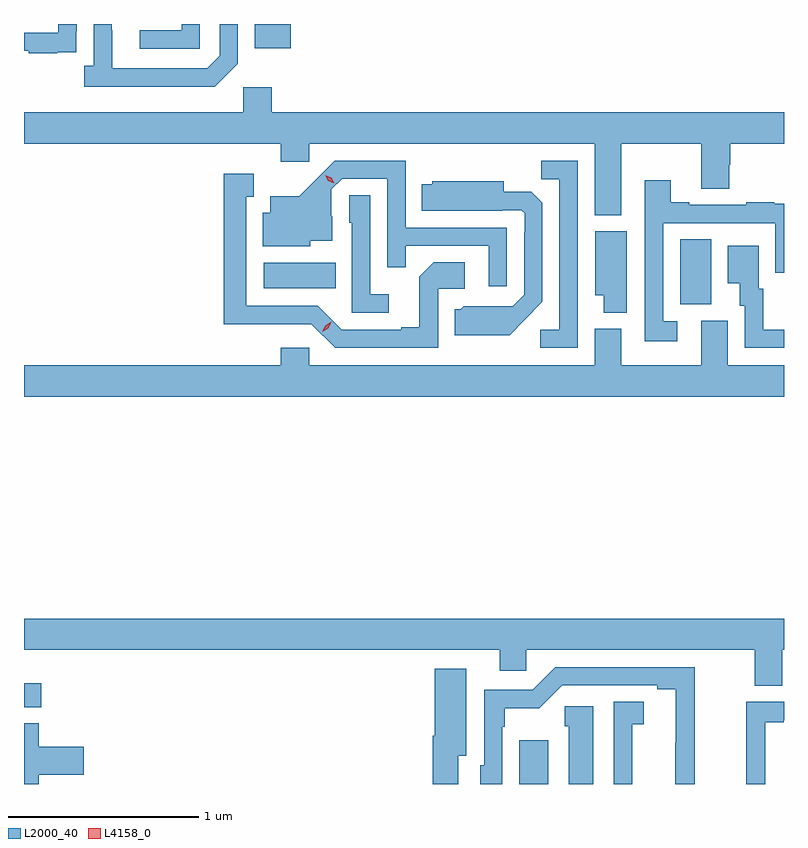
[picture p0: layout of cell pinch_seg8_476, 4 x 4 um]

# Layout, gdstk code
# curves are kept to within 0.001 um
import gdstk
lib = gdstk.Library(unit=1e-6, precision=1e-09)
def R(c, l, rs):  # rectangles x0, y0, x1, y1
    for r in rs: c.add(gdstk.rectangle(r[:2], r[2:], *l))
def P(c, l, *ps):  # polygons
    for p in ps: c.add(gdstk.Polygon(p, *l))
L2000_40 = (2000, 40)
L4158_0 = (4158, 0)

pinch_seg8_476 = lib.new_cell('pinch_seg8_476')
R(pinch_seg8_476, L2000_40, [(182.9,1131.777,183.052,1132.006), (180.293,1132.181,180.385,1132.306), (183.746,1134.301,183.91,1134.644), (181.554,1134.386,181.934,1134.52), (181.508,1135.649,181.696,1135.777)])
P(pinch_seg8_476, L2000_40, [(181.218,1135.777),(181.122,1135.777),(181.122,1135.743),(180.903,1135.743),(180.903,1135.647),(181.218,1135.647)],
  [(180.467,1135.629),(180.569,1135.629),(180.569,1135.738),(180.57,1135.738),(180.57,1135.777),(180.474,1135.777),(180.474,1135.731),(180.293,1135.731),(180.293,1135.635),(180.319,1135.635),(180.319,1135.623),(180.467,1135.623)],
  [(181.419,1135.569),(181.419,1135.777),(181.323,1135.777),(181.323,1135.611),(181.257,1135.545),(180.757,1135.545),(180.756,1135.777),(180.66,1135.777),(180.66,1135.558),(180.609,1135.558),(180.609,1135.448),(181.298,1135.448)],
  [(183.436,1135.148),(183.857,1135.148),(183.857,1134.91),(184.005,1134.91),(184.005,1135.035),(184.01,1135.035),(184.01,1135.148),(184.293,1135.148),(184.293,1135.312),(181.598,1135.312),(181.598,1135.444),(181.446,1135.444),(181.446,1135.312),(180.293,1135.312),(180.293,1135.148),(181.643,1135.148),(181.643,1135.053),(181.794,1135.053),(181.794,1135.148),(183.296,1135.148),(183.296,1134.77),(183.436,1134.77)],
  [(183.207,1135.056),(183.016,1135.056),(183.016,1134.961),(183.111,1134.961),(183.111,1134.168),(183.009,1134.168),(183.009,1134.072),(183.207,1134.072)],
  [(182.835,1134.705),(182.301,1134.705),(182.301,1135.056),(181.928,1135.056),(181.741,1134.871),(181.589,1134.871),(181.589,1134.784),(181.55,1134.784),(181.55,1134.608),(181.8,1134.608),(181.8,1134.635),(181.915,1134.635),(181.915,1134.764),(181.911,1134.764),(181.911,1134.906),(181.968,1134.963),(182.205,1134.963),(182.205,1134.496),(182.303,1134.496),(182.303,1134.609),(182.739,1134.609),(182.739,1134.396),(182.835,1134.396)],
  [(182.472,1134.384),(182.614,1134.384),(182.614,1134.524),(182.449,1134.524),(182.373,1134.448),(182.373,1134.181),(182.279,1134.181),(182.279,1134.168),(181.965,1134.168),(181.839,1134.294),(181.462,1134.294),(181.462,1134.867),(181.501,1134.867),(181.501,1134.988),(181.344,1134.988),(181.344,1134.197),(181.806,1134.198),(181.932,1134.072),(182.472,1134.072)],
  [(183.73,1134.213),(183.657,1134.213),(183.657,1134.729),(184.248,1134.729),(184.248,1134.468),(184.293,1134.468),(184.293,1134.831),(184.241,1134.831),(184.241,1134.838),(184.093,1134.838),(184.093,1134.825),(183.793,1134.825),(183.793,1134.838),(183.697,1134.838),(183.697,1134.955),(183.561,1134.955),(183.561,1134.108),(183.73,1134.108)],
  [(182.929,1134.221),(183.021,1134.314),(183.021,1134.836),(182.962,1134.895),(182.818,1134.895),(182.818,1134.949),(182.442,1134.949),(182.442,1134.934),(182.386,1134.934),(182.386,1134.794),(182.81,1134.794),(182.81,1134.798),(182.91,1134.798),(182.928,1134.78),(182.928,1134.68),(182.925,1134.68),(182.925,1134.351),(182.865,1134.291),(182.608,1134.292),(182.592,1134.276),(182.561,1134.276),(182.561,1134.14),(182.849,1134.14)],
  [(182.212,1134.355),(182.115,1134.355),(182.115,1134.875),(182.004,1134.875),(182.004,1134.732),(182.019,1134.732),(182.019,1134.258),(182.212,1134.258)],
  [(183.466,1134.685),(183.299,1134.685),(183.299,1134.35),(183.344,1134.35),(183.344,1134.257),(183.466,1134.257)],
  [(184.293,1134.168),(184.183,1134.168),(184.183,1134.384),(184.159,1134.384),(184.159,1134.61),(183.998,1134.61),(183.998,1134.413),(184.061,1134.413),(184.061,1134.294),(184.086,1134.294),(184.086,1134.072),(184.293,1134.072)],
  [(184.293,1133.98),(183.997,1133.98),(183.997,1134.216),(183.857,1134.216),(183.857,1133.98),(183.436,1133.98),(183.436,1134.172),(183.296,1134.172),(183.296,1133.98),(181.794,1133.98),(181.794,1134.073),(181.643,1134.073),(181.643,1133.98),(180.293,1133.98),(180.293,1133.816),(184.293,1133.816)],
  [(184.285,1132.484),(184.293,1132.484),(184.293,1132.648),(180.293,1132.648),(180.293,1132.484),(182.798,1132.484),(182.798,1132.374),(182.937,1132.374),(182.937,1132.484),(184.138,1132.484),(184.138,1132.294),(184.285,1132.294)],
  [(182.811,1132.079),(182.824,1132.079),(182.824,1132.175),(183.005,1132.175),(183.126,1132.296),(183.626,1132.296),(183.626,1132.276),(183.722,1132.276),(183.721,1131.777),(183.824,1131.777),(183.824,1132.392),(183.09,1132.392),(182.97,1132.272),(182.715,1132.272),(182.715,1131.876),(182.694,1131.876),(182.694,1131.777),(182.811,1131.777)],
  [(182.578,1131.926),(182.62,1131.926),(182.62,1132.384),(182.456,1132.384),(182.456,1132.03),(182.444,1132.03),(182.444,1131.777),(182.578,1131.777)],
  [(183.493,1131.787),(183.495,1131.787),(183.495,1132.091),(183.556,1132.091),(183.556,1132.211),(183.396,1132.211),(183.396,1131.777),(183.493,1131.777)],
  [(184.195,1132.101),(184.291,1132.101),(184.291,1132.113),(184.293,1132.113),(184.293,1132.209),(184.093,1132.209),(184.093,1131.777),(184.195,1131.777)],
  [(183.289,1132.186),(183.139,1132.186),(183.139,1132.08),(183.161,1132.08),(183.161,1131.777),(183.289,1131.777)],
  [(180.371,1131.827),(180.607,1131.827),(180.607,1131.974),(180.371,1131.974),(180.371,1132.096),(180.293,1132.096),(180.293,1131.777),(180.371,1131.777)])
P(pinch_seg8_476, L4158_0, [(181.926,1134.938),(181.895,1134.953),(181.878,1134.982),(181.878,1134.982),(181.878,1134.982),(181.909,1134.967),(181.927,1134.938),(181.927,1134.938)],
  [(181.862,1134.157),(181.862,1134.157),(181.879,1134.19),(181.911,1134.209),(181.911,1134.209),(181.911,1134.208),(181.894,1134.176),(181.862,1134.157)])

lib.write_gds('pinch_seg8_476.gds')
